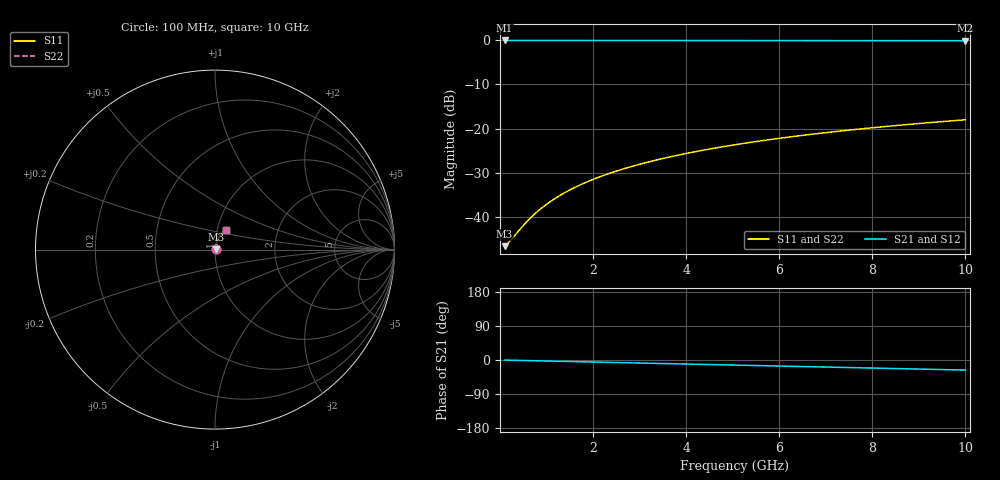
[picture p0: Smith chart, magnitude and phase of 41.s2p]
# Hz S RI R 50.00
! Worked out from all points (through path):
!   100 points, 100 MHz to 10 GHz, reference 50 ohm
!   highest |S21| = -0.04 dB at 100 MHz (marker M1); lowest = -0.1 dB at 10 GHz (marker M2)
!   group delay of S21, straight-line fit = 7.38 ps
!   lowest |S11| = -46.6 dB at 100 MHz (marker M3), VSWR 1.01, Z = 50.4 + j0.13 ohm
!   |S11| at or under -10 dB: start of sweep to end of sweep
!   |S22| runs from -46.6 to -18.0 dB; largest |S21 - S12| = 0
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1e8  0.00448 0.00129  0.9955 -0.00463  0.9955 -0.00463  0.00448 0.00129
2e8  0.00452 0.00258  0.9954 -0.00926  0.9954 -0.00926  0.00452 0.00258
5e8  0.0047 0.00644  0.9951 -0.0231  0.9951 -0.0231  0.0047 0.00644
6e8  0.00478 0.00773  0.995 -0.0278  0.995 -0.0278  0.00478 0.00773
7e8  0.00487 0.00902  0.9948 -0.0324  0.9948 -0.0324  0.00487 0.00902
9e8  0.00508 0.0116  0.9944 -0.0416  0.9944 -0.0416  0.00508 0.0116
1.1e9  0.00534 0.0141  0.994 -0.0509  0.994 -0.0509  0.00534 0.0141
1.3e9  0.00564 0.0167  0.9934 -0.0601  0.9934 -0.0601  0.00564 0.0167
1.5e9  0.00599 0.0193  0.9927 -0.0693  0.9927 -0.0693  0.00599 0.0193
1.8e9  0.0066 0.0231  0.9915 -0.0832  0.9915 -0.0832  0.0066 0.0231
2.1e9  0.00731 0.0269  0.9902 -0.097  0.9902 -0.097  0.00731 0.0269
2.5e9  0.00843 0.0319  0.988 -0.1154  0.988 -0.1154  0.00843 0.0319
2.9e9  0.00973 0.0369  0.9855 -0.1337  0.9855 -0.1337  0.00973 0.0369
3.4e9  0.0116 0.043  0.9818 -0.1565  0.9818 -0.1565  0.0116 0.043
3.8e9  0.0133 0.0479  0.9785 -0.1747  0.9785 -0.1747  0.0133 0.0479
4.2e9  0.0152 0.0527  0.9748 -0.1927  0.9748 -0.1927  0.0152 0.0527
5.1e9  0.0201 0.0631  0.9652 -0.2331  0.9652 -0.2331  0.0201 0.0631
5.9e9  0.0252 0.072  0.9551 -0.2686  0.9551 -0.2686  0.0252 0.072
6.7e9  0.0309 0.0806  0.9437 -0.3035  0.9437 -0.3035  0.0309 0.0806
7.5e9  0.0372 0.0886  0.9309 -0.3379  0.9309 -0.3379  0.0372 0.0886
8.4e9  0.045 0.0971  0.915 -0.3759  0.915 -0.3759  0.045 0.0971
1e10  0.0604 0.1104  0.8828 -0.4414  0.8828 -0.4414  0.0604 0.1104
